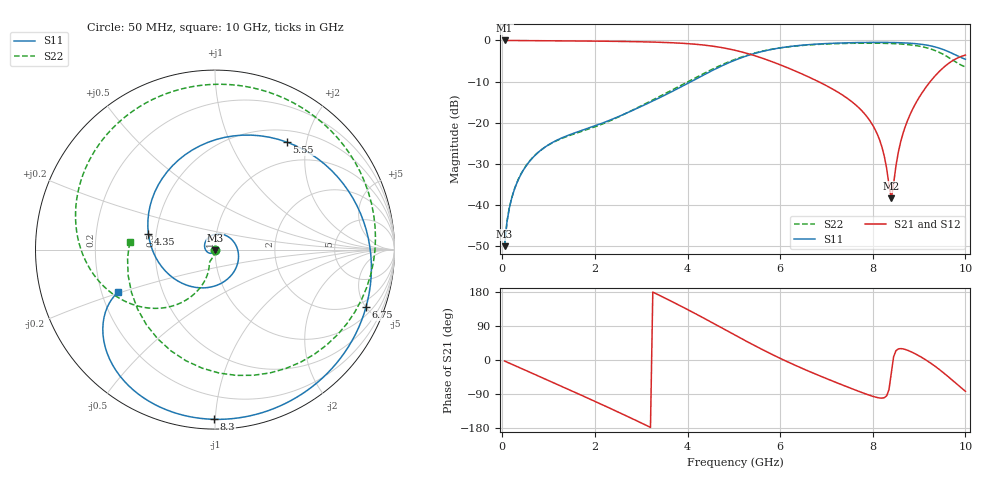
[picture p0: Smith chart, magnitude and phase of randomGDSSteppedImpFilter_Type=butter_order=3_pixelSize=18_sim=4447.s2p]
! freq	dB(S11)	phase(S11)	dB(S12)	phase(S12)
!  dB(S21)	phase(S21)	dB(S22)	phase(S22)
!S-par simulation data
#  GHz  S  DB  R 50
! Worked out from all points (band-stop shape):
!   200 points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, 50 MHz to 10 GHz, reference 50 ohm
!   highest |S21| = 0.00 dB at 50 MHz (marker M1); lowest = -38.4 dB at 8.4 GHz (marker M2)
!   |S21| within 3 dB of the highest: start of sweep to 5.24 GHz
!   lowest |S11| = -50.0 dB at 50 MHz (marker M3), VSWR 1.01, Z = 50 - j0.317 ohm
!   |S11| at or under -10 dB: start of sweep to 4.076 GHz
!   |S22| runs from -49.9 to -0.7 dB; largest |S21 - S12| = 0
!   S11 on the Smith chart (normalised r, x): 50 MHz: 1.00, -0.01; 4.35 GHz: 0.45, +0.09; 5.55 GHz: 0.67, +1.67; 6.75 GHz: 1.47, -4.99; 8.3 GHz: 0.06, -0.99; 10 GHz: 0.27, -0.20
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0.05  -49.97 -91.2  -0.00 -2.8  -0.00 -2.8  -49.88 -88.1
0.2  -38.44 -105.8  -0.02 -10.9  -0.02 -10.9  -38.36 -92.4
0.5  -30.71 -134.6  -0.04 -27.1  -0.04 -27.1  -30.63 -100.7
1.15  -24.39 163.8  -0.09 -62.4  -0.09 -62.4  -24.47 -111.1
1.75  -21.72 100.0  -0.14 -95.3  -0.14 -95.3  -21.97 -112.4
2.65  -17.81 -4.3  -0.25 -145.8  -0.25 -145.8  -17.84 -107.0
3.4  -13.89 -89.6  -0.44 170.3  -0.44 170.3  -13.59 -109.9
4.35  -8.37 166.6  -1.12 110.6  -1.12 110.6  -8.02 -127.4
5.05  -4.68 98.4  -2.46 64.1  -2.46 64.1  -4.49 -152.8
5.55  -2.85 56.3  -4.07 31.6  -4.07 31.6  -2.78 -175.5
6.1  -1.64 17.0  -6.36 -1.4  -6.36 -1.4  -1.65 157.7
6.7  -0.95 -18.3  -9.31 -33.9  -9.31 -33.9  -1.03 127.8
6.75  -0.91 -20.9  -9.58 -36.5  -9.58 -36.5  -1.00 125.3
7.85  -0.49 -71.7  -18.18 -89.6  -18.18 -89.6  -0.66 64.9
8.3  -0.49 -90.3  -31.11 -94.6  -31.11 -94.6  -0.71 35.4
8.35  -0.49 -92.4  -35.08 -78.1  -35.08 -78.1  -0.73 31.8
8.4  -0.50 -94.4  -38.39 -34.7  -38.39 -34.7  -0.75 28.1
8.7  -0.61 -107.0  -20.97 27.9  -20.97 27.9  -0.95 4.2
9.05  -0.94 -122.5  -12.96 7.3  -12.96 7.3  -1.49 -29.4
9.4  -1.75 -138.4  -7.95 -21.6  -7.95 -21.6  -2.71 -73.0
9.75  -3.32 -151.7  -4.74 -56.5  -4.74 -56.5  -4.93 -132.3
10  -4.57 -156.2  -3.55 -82.6  -3.55 -82.6  -6.42 174.6
